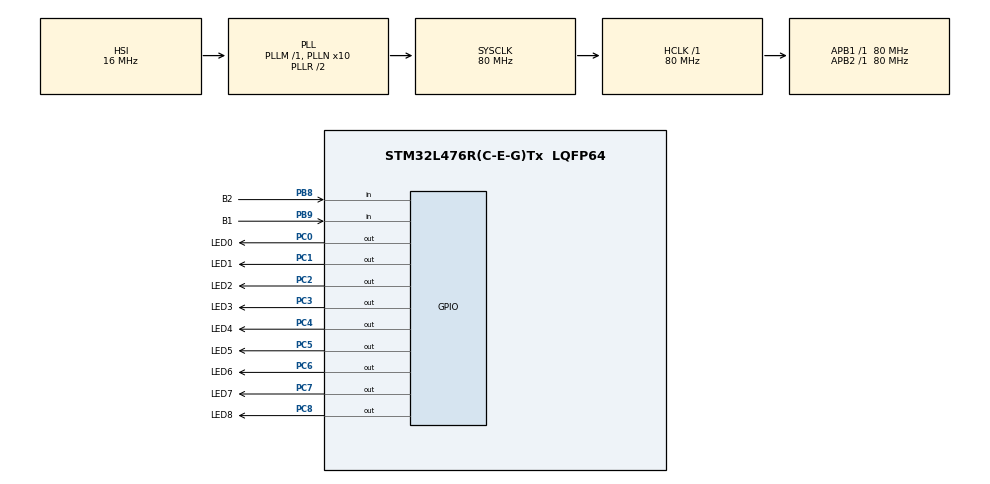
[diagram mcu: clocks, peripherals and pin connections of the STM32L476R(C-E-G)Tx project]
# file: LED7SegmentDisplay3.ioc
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Mcu.Family=STM32L4
Mcu.Name=STM32L476R(C-E-G)Tx
Mcu.Package=LQFP64
NVIC.PriorityGroup=NVIC_PRIORITYGROUP_4
PB8.GPIO_Label=B2
PB8.GPIO_PuPd=GPIO_PULLUP
PB8.Signal=GPIO_Input
PB9.GPIO_Label=B1
PB9.GPIO_PuPd=GPIO_PULLUP
PB9.Signal=GPIO_Input
PC0.GPIO_Label=LED0
PC0.GPIO_PuPd=GPIO_NOPULL
PC0.Signal=GPIO_Output
PC1.GPIO_Label=LED1
PC1.Signal=GPIO_Output
PC2.GPIO_Label=LED2
PC2.Signal=GPIO_Output
PC3.GPIO_Label=LED3
PC3.Signal=GPIO_Output
PC4.GPIO_Label=LED4
PC4.Signal=GPIO_Output
PC5.GPIO_Label=LED5
PC5.Signal=GPIO_Output
PC6.GPIO_Label=LED6
PC6.Signal=GPIO_Output
PC7.GPIO_Label=LED7
PC7.Signal=GPIO_Output
PC8.GPIO_Label=LED8
PC8.Signal=GPIO_Output
PH0-OSC_IN\ (PH0).Mode=HSE-External-Oscillator
PH0-OSC_IN\ (PH0).Signal=RCC_OSC_IN
PH1-OSC_OUT\ (PH1).Mode=HSE-External-Oscillator
PH1-OSC_OUT\ (PH1).Signal=RCC_OSC_OUT
ProjectManager.HeapSize=0x200
ProjectManager.StackSize=0x400
ProjectManager.TargetToolchain=STM32CubeIDE
RCC.ADCFreq_Value=64000000
RCC.AHBFreq_Value=80000000
RCC.APB1Freq_Value=80000000
RCC.APB1TimFreq_Value=80000000
RCC.APB2Freq_Value=80000000
RCC.APB2TimFreq_Value=80000000
RCC.CortexFreq_Value=80000000
RCC.HCLKFreq_Value=80000000
RCC.HSE_VALUE=8000000
RCC.HSI_VALUE=16000000
RCC.LSE_VALUE=32768
RCC.MSI_VALUE=4000000
RCC.PLLN=10
RCC.PLLSourceVirtual=RCC_PLLSOURCE_HSI
RCC.SYSCLKFreq_VALUE=80000000
RCC.SYSCLKSource=RCC_SYSCLKSOURCE_PLLCLK
RCC.USBFreq_Value=64000000
RCC.VCOOutputFreq_Value=160000000
board=custom

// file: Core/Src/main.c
/* USER CODE BEGIN Header */
/**
  ******************************************************************************
  * @file           : main.c
  * @brief          : Main program body
  ******************************************************************************
  * @attention
  *
  * Copyright (c) 2024 STMicroelectronics.
  * All rights reserved.
  *
  * This software is licensed under terms that can be found in the LICENSE file
  * in the root directory of this software component.
  * If no LICENSE file comes with this software, it is provided AS-IS.
  *
  ******************************************************************************
  */
/* USER CODE END Header */
#include "main.h"

/* USER CODE BEGIN PV */
int LED[]={LED0_Pin,LED1_Pin,LED2_Pin,LED3_Pin,LED4_Pin,LED5_Pin,LED6_Pin,LED7_Pin};
int display[]={0x3F,// 0
		  	  	 0x06,// 1
		  	  	 0x5B,// 2
				 0x4F,// 3
				 0x66,// 4
				 0x6D,// 5
				 0x7D,// 6
				 0x07,// 7
				 0x7F,// 8
				 0x6F};// 9
/* USER CODE END PV */

void SystemClock_Config(void);
static void MX_GPIO_Init(void);

int main(void)
{
  /* USER CODE BEGIN 1 */
	int lsd,msd,Count=27;
  /* USER CODE END 1 */

  /* MCU Configuration--------------------------------------------------------*/

  /* Reset of all peripherals, Initializes the Flash interface and the Systick. */
  HAL_Init();

  /* USER CODE BEGIN Init */
  HAL_GPIO_WritePin(GPIOC, LED7_Pin, 0);
  HAL_GPIO_WritePin(GPIOC, LED8_Pin, 0);
  /* USER CODE END Init */

  /* Configure the system clock */
  SystemClock_Config();

  /* Initialize all configured peripherals */
  MX_GPIO_Init();

  /* Infinite loop */
  /* USER CODE BEGIN WHILE */
  while (1)
  {
	  msd=Count/10;
	  lsd=Count%10;
	  for(int i=0; i<=5;i++)
	  {
	  GPIOC->ODR = display[msd];
	  HAL_GPIO_WritePin(GPIOC, LED8_Pin, 1);
	  HAL_Delay(10);
	  HAL_GPIO_WritePin(GPIOC, LED8_Pin, 0);

	  GPIOC->ODR = display[lsd];
	  HAL_GPIO_WritePin(GPIOC, LED7_Pin, 1);
	  HAL_Delay(10);
	  HAL_GPIO_WritePin(GPIOC, LED7_Pin, 0);
	  }
	  if(HAL_GPIO_ReadPin(B1_GPIO_Port,B1_Pin)==0)
	  {
		  Count++;
		  if(Count>99)Count=99;
	  }
	  if(HAL_GPIO_ReadPin(B2_GPIO_Port,B2_Pin)==0)
	  	  {
	  		  Count--;
	  		  if(Count<0)Count=0;
	  	  }
    /* USER CODE END WHILE */

  }
}

void SystemClock_Config(void)
{
  RCC_OscInitTypeDef RCC_OscInitStruct = {0};
  RCC_ClkInitTypeDef RCC_ClkInitStruct = {0};

  /** Configure the main internal regulator output voltage
  */
  if (HAL_PWREx_ControlVoltageScaling(PWR_REGULATOR_VOLTAGE_SCALE1) != HAL_OK)
  {
    Error_Handler();
  }

  /** Initializes the RCC Oscillators according to the specified parameters
  * in the RCC_OscInitTypeDef structure.
  */
  RCC_OscInitStruct.OscillatorType = RCC_OSCILLATORTYPE_HSI;
  RCC_OscInitStruct.HSIState = RCC_HSI_ON;
  RCC_OscInitStruct.HSICalibrationValue = RCC_HSICALIBRATION_DEFAULT;
  RCC_OscInitStruct.PLL.PLLState = RCC_PLL_ON;
  RCC_OscInitStruct.PLL.PLLSource = RCC_PLLSOURCE_HSI;
  RCC_OscInitStruct.PLL.PLLM = 1;
  RCC_OscInitStruct.PLL.PLLN = 10;
  RCC_OscInitStruct.PLL.PLLP = RCC_PLLP_DIV7;
  RCC_OscInitStruct.PLL.PLLQ = RCC_PLLQ_DIV2;
  RCC_OscInitStruct.PLL.PLLR = RCC_PLLR_DIV2;
  if (HAL_RCC_OscConfig(&RCC_OscInitStruct) != HAL_OK)
  {
    Error_Handler();
  }

  /** Initializes the CPU, AHB and APB buses clocks
  */
  RCC_ClkInitStruct.ClockType = RCC_CLOCKTYPE_HCLK|RCC_CLOCKTYPE_SYSCLK
                              |RCC_CLOCKTYPE_PCLK1|RCC_CLOCKTYPE_PCLK2;
  RCC_ClkInitStruct.SYSCLKSource = RCC_SYSCLKSOURCE_PLLCLK;
  RCC_ClkInitStruct.AHBCLKDivider = RCC_SYSCLK_DIV1;
  RCC_ClkInitStruct.APB1CLKDivider = RCC_HCLK_DIV1;
  RCC_ClkInitStruct.APB2CLKDivider = RCC_HCLK_DIV1;

  if (HAL_RCC_ClockConfig(&RCC_ClkInitStruct, FLASH_LATENCY_4) != HAL_OK)
  {
    Error_Handler();
  }
}

static void MX_GPIO_Init(void)
{
  GPIO_InitTypeDef GPIO_InitStruct = {0};

  /* GPIO Ports Clock Enable */
  __HAL_RCC_GPIOH_CLK_ENABLE();
  __HAL_RCC_GPIOC_CLK_ENABLE();
  __HAL_RCC_GPIOB_CLK_ENABLE();

  /*Configure GPIO pin Output Level */
  HAL_GPIO_WritePin(GPIOC, LED0_Pin|LED1_Pin|LED2_Pin|LED3_Pin
                          |LED4_Pin|LED5_Pin|LED6_Pin|LED7_Pin
                          |LED8_Pin, GPIO_PIN_RESET);

  /*Configure GPIO pins : LED0_Pin LED1_Pin LED2_Pin LED3_Pin
                           LED4_Pin LED5_Pin LED6_Pin LED7_Pin
                           LED8_Pin */
  GPIO_InitStruct.Pin = LED0_Pin|LED1_Pin|LED2_Pin|LED3_Pin
                          |LED4_Pin|LED5_Pin|LED6_Pin|LED7_Pin
                          |LED8_Pin;
  GPIO_InitStruct.Mode = GPIO_MODE_OUTPUT_PP;
  GPIO_InitStruct.Pull = GPIO_NOPULL;
  GPIO_InitStruct.Speed = GPIO_SPEED_FREQ_LOW;
  HAL_GPIO_Init(GPIOC, &GPIO_InitStruct);

  /*Configure GPIO pins : B2_Pin B1_Pin */
  GPIO_InitStruct.Pin = B2_Pin|B1_Pin;
  GPIO_InitStruct.Mode = GPIO_MODE_INPUT;
  GPIO_InitStruct.Pull = GPIO_PULLUP;
  HAL_GPIO_Init(GPIOB, &GPIO_InitStruct);

}

void Error_Handler(void)
{
  __disable_irq();
  while (1)
  {
  }
}
